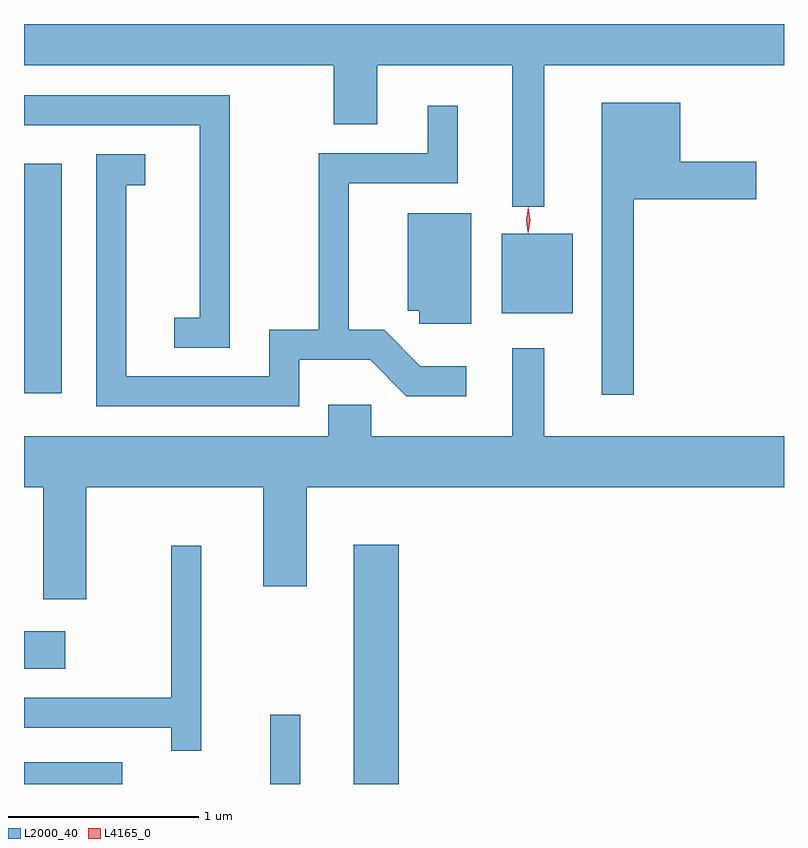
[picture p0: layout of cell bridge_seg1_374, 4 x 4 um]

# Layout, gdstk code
import gdstk
lib = gdstk.Library(unit=1e-6, precision=1e-09)
def R(c, l, rs):  # rectangles x0, y0, x1, y1
    for r in rs: c.add(gdstk.rectangle(r[:2], r[2:], *l))
def P(c, l, *ps):  # polygons
    for p in ps: c.add(gdstk.Polygon(p, *l))
L2000_40 = (2000, 40)
L4165_0 = (4165, 0)

bridge_seg1_374 = lib.new_cell('bridge_seg1_374')
R(bridge_seg1_374, L2000_40, [(417.761,964.614,418.279,964.729), (419.056,964.614,419.214,964.978), (419.496,964.614,419.734,965.874), (417.761,965.221,417.979,965.419), (417.761,966.671,417.959,967.879), (420.276,967.091,420.649,967.509)])
P(bridge_seg1_374, L2000_40, [(420.499,968.396),(421.761,968.396),(421.761,968.614),(417.761,968.614),(417.761,968.396),(419.391,968.396),(419.391,968.086),(419.619,968.086),(419.619,968.396),(420.331,968.396),(420.331,967.653),(420.499,967.653)],
  [(418.844,968.239),(417.761,968.239),(417.761,968.081),(418.686,968.081),(418.686,967.069),(418.553,967.069),(418.553,966.911),(418.844,966.911)],
  [(420.969,967.691),(421.614,967.691),(421.614,967.889),(421.214,967.889),(421.214,968.199),(420.801,968.199),(420.801,966.663),(420.969,966.663)],
  [(419.209,966.846),(419.584,966.846),(419.774,966.656),(420.088,966.656),(420.088,966.814),(419.847,966.814),(419.657,967.004),(419.469,967.004),(419.469,967.776),(420.044,967.776),(420.044,968.183),(419.886,968.183),(419.886,967.934),(419.311,967.934),(419.311,967.004),(419.051,967.004),(419.051,966.759),(418.299,966.759),(418.299,967.766),(418.398,967.766),(418.398,967.929),(418.141,967.929),(418.141,966.601),(419.209,966.601)],
  [(420.114,967.619),(419.781,967.619),(419.781,967.106),(419.841,967.106),(419.841,967.036),(420.114,967.036)],
  [(418.089,966.176),(419.021,966.176),(419.021,965.656),(419.249,965.656),(419.249,966.176),(421.761,966.176),(421.761,966.444),(420.499,966.444),(420.499,966.908),(420.331,966.908),(420.331,966.444),(419.589,966.444),(419.589,966.609),(419.361,966.609),(419.361,966.444),(417.761,966.444),(417.761,966.176),(417.861,966.176),(417.861,965.586),(418.089,965.586)],
  [(418.694,965.868),(418.536,965.868),(418.536,965.069),(417.761,965.069),(417.761,964.911),(418.536,964.911),(418.536,964.788),(418.694,964.788)])
P(bridge_seg1_374, L4165_0, [(420.414,967.514),(420.405,967.582),(420.414,967.65),(420.415,967.65),(420.415,967.65),(420.425,967.582),(420.415,967.514),(420.415,967.514)],
  [(420.413,967.518),(420.412,967.519),(420.404,967.583),(420.414,967.646),(420.415,967.647),(420.415,967.646),(420.424,967.582),(420.413,967.519)])

lib.write_gds('bridge_seg1_374.gds')
